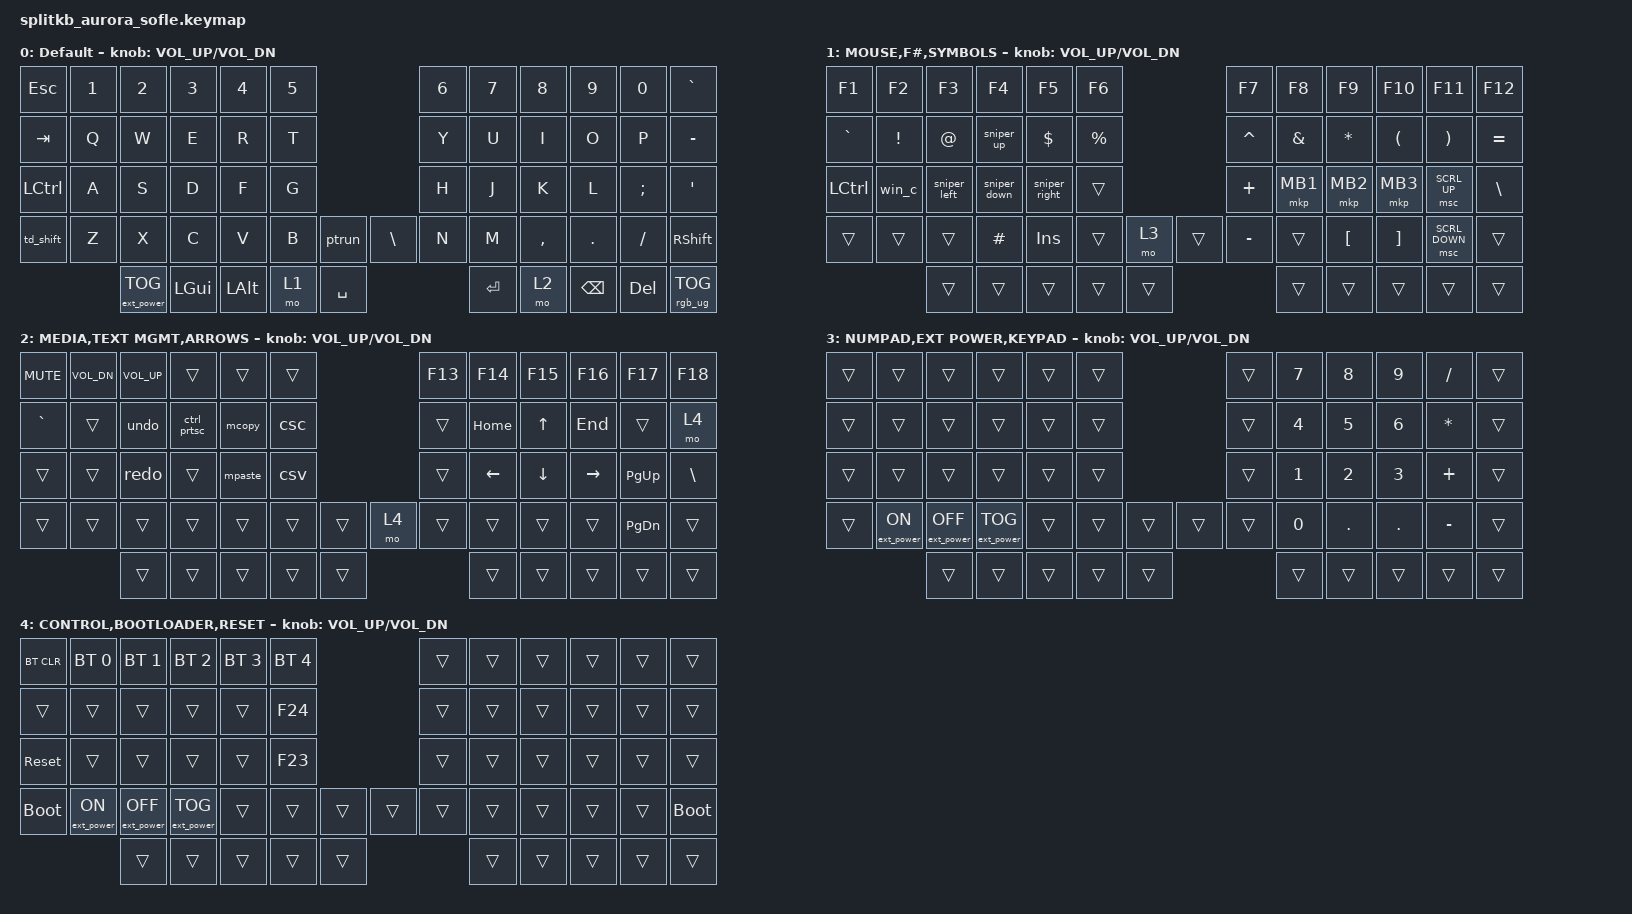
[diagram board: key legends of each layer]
/*
 * Copyright (c) 2020 The ZMK Contributors
 *
 * SPDX-License-Identifier: MIT
 */

#include <behaviors.dtsi>
#include <dt-bindings/zmk/keys.h>
#include <dt-bindings/zmk/bt.h>
#include <dt-bindings/zmk/ext_power.h>
#include <dt-bindings/zmk/rgb.h>
#include <dt-bindings/zmk/pointing.h>

/ {

    macros {
        win_c: win_c {
            label = "WIN_C";
            compatible = "zmk,behavior-macro";
            #binding-cells = <0>;
            bindings
                = <&macro_press &kp LGUI>
                , <&macro_tap &kp C>
                , <&macro_release &kp LGUI>
                ;
        };

        ctrl_prtsc: ctrl_prtsc {
            label = "CTRL_PRSC";
            compatible = "zmk,behavior-macro";
            #binding-cells = <0>;
            bindings
                = <&macro_press &kp LCTRL>
                , <&macro_tap &kp PRINTSCREEN>
                , <&macro_release &kp LCTRL>
                ;
        };

        csc: csc {
            label = "CSC";
            compatible = "zmk,behavior-macro";
            #binding-cells = <0>;
            bindings
                = <&macro_press &kp LCTRL &kp LSHIFT>
                , <&macro_tap &kp C>
                , <&macro_release &kp LSHIFT &kp LCTRL>
                ;
        };

        csv: csv {
            label = "CSV";
            compatible = "zmk,behavior-macro";
            #binding-cells = <0>;
            bindings
                = <&macro_press &kp LCTRL &kp LSHIFT>
                , <&macro_tap &kp V>
                , <&macro_release &kp LSHIFT &kp LCTRL>
                ;
        };
        
        mcopy: mcopy {
            label = "mcopy";
            compatible = "zmk,behavior-macro";
            #binding-cells = <0>;
            bindings
                = <&macro_press &kp LCTRL>
                , <&macro_tap &kp C>
                , <&macro_release &kp LCTRL>
                ;
        };

        mpaste: mpaste {
            label = "mpaste";
            compatible = "zmk,behavior-macro";
            #binding-cells = <0>;
            bindings
                = <&macro_press &kp LCTRL>
                , <&macro_tap &kp V>
                , <&macro_release &kp LCTRL>
                ;
        };

        undo: undo {
            label = "undo";
            compatible = "zmk,behavior-macro";
            #binding-cells = <0>;
            bindings
                = <&macro_press &kp LCTRL>
                , <&macro_tap &kp Z>
                , <&macro_release &kp LCTRL>
                ;
        };

        redo: redo {
            label = "redo";
            compatible = "zmk,behavior-macro";
            #binding-cells = <0>;
            bindings
                = <&macro_press &kp LCTRL>
                , <&macro_tap &kp Y>
                , <&macro_release &kp LCTRL>
                ;
        };

        ptrun: ptrun {
            label = "ptrun";
            compatible = "zmk,behavior-macro";
            #binding-cells = <0>;
            bindings
                = <&macro_press &kp LWIN>
                , <&macro_press &kp LALT>
                , <&macro_tap &kp SPACE>
                , <&macro_release &kp LWIN>
                , <&macro_release &kp LALT>
                ;
        };
    };


    behaviors {
        compatible = "zmk,behaviors";

      td_shift: tap_dance_shift {
        compatible = "zmk,behavior-tap-dance";
        #binding-cells = <0>;
        tapping-term-ms = <200>;
        bindings = <&kp LSHIFT>, <&kp CLCK>;
    };
    /* Hold LCTRL for the slower variant */
    sniper_up: sniper_up {
      compatible = "zmk,behavior-mod-morph";
      #binding-cells = <0>;
      mods = <MOD_LCTL>;
      bindings = <&mmv MOVE_UP>, <&mmv MOVE_Y(-900)>;
    };

    sniper_down: sniper_down {
      compatible = "zmk,behavior-mod-morph";
      #binding-cells = <0>;
      mods = <MOD_LCTL>;
      bindings = <&mmv MOVE_DOWN>, <&mmv MOVE_Y(900)>;
    };

    sniper_left: sniper_left {
      compatible = "zmk,behavior-mod-morph";
      #binding-cells = <0>;
      mods = <MOD_LCTL>;
      bindings = <&mmv MOVE_LEFT>, <&mmv MOVE_X(-900)>;
    };

    sniper_right: sniper_right {
      compatible = "zmk,behavior-mod-morph";
      #binding-cells = <0>;
      mods = <MOD_LCTL>;
      bindings = <&mmv MOVE_RIGHT>, <&mmv MOVE_X(900)>;
    };
  };

    keymap {
        compatible = "zmk,keymap";

        default_layer {
            display-name="Default";
// ------------------------------------------------------------------------------------------------------------
// |  ESC  |  1  |  2  |  3   |  4   |  5   |                   |  6   |  7    |  8    |  9   |   0   |   `   |
// |  TAB  |  Q  |  W  |  E   |  R   |  T   |                   |  Y   |  U    |  I    |  O   |   P   |   -   |
// |  CTRL |  A  |  S  |  D   |  F   |  G   |                   |  H   |  J    |  K    |  L   |   ;   |   '   |
// | SHIFT |  Z  |  X  |  C   |  V   |  B   |  ptrun   |   \|   |  N   |  M    |  ,    |  .   |   /   | SHIFT |
//               | &   | GUI  | LALT | LOWER|  SPACE   |  ENTER | RAISE| BSPC  | DEL   |   &  |
            bindings = <
&kp ESC   &kp N1 &kp N2 &kp N3   &kp N4   &kp N5                     &kp N6 &kp N7   &kp N8    &kp N9  &kp N0   &kp GRAVE
&kp TAB   &kp Q  &kp W  &kp E    &kp R    &kp T                      &kp Y  &kp U    &kp I     &kp O   &kp P    &kp MINUS
&kp LCTRL &kp A  &kp S  &kp D    &kp F    &kp G                      &kp H  &kp J    &kp K     &kp L   &kp SEMI &kp SQT
&td_shift &kp Z  &kp X  &kp C    &kp V    &kp B  &ptrun     &kp BSLH &kp N  &kp M    &kp COMMA &kp DOT &kp FSLH &kp RSHFT
                    &ext_power EP_TOG &kp LGUI &kp LALT &mo 1  &kp SPACE  &kp RET  &mo 2  &kp BSPC &kp DEL &rgb_ug RGB_TOG     
            >;

            sensor-bindings = <&inc_dec_kp C_VOL_UP C_VOL_DN>;
        };

        lower_layer {
            display-name = "MOUSE,F#,SYMBOLS";
// ------------------------------------------------------------------------------------------------------------
// |  F1   |  F2 |  F3 |  F4  |  F5  |  F6  |                   |  F7  |  F8   |  F9   |  F10 |  F11  |  F12  |
// |   `   |  !  |  @  |   ^  |  $   |  %   |                   |  ^   |  &    |  *    |  (   |   )   |   =   |
// |       |win+c|  <- |   v  |  ->  |      |                   |  +   |  mb1  |  mb2  |  mb3 | scrlu |  \|   |
// | SHIFT |     |     |  #   |  INS |      |  mo 3  |  |       |  _   |       |  "[{" | "]}" | scrld | SHIFT |
//               | &   | GUI  | LALT | LOWER|  SPACE   |  ENTER | RAISE| BSPC  | DEL   |   &  |
            bindings = <
&kp F1     &kp F2    &kp F3              &kp F4              &kp F5               &kp F6                         &kp F7    &kp F8    &kp F9    &kp F10   &kp F11        &kp F12
&kp GRAVE  &kp EXCL  &kp AT              &sniper_up          &kp DOLLAR           &kp PRCNT                      &kp CARET &kp AMPS  &kp ASTRK &kp LPAR  &kp RPAR       &kp EQUAL
&kp LCTRL  &win_c    &sniper_left        &sniper_down        &sniper_right        &trans                         &kp PLUS  &mkp MB1  &mkp MB2  &mkp MB3  &msc SCRL_UP   &kp BSLH
&trans     &trans    &trans              &kp HASH            &kp INS              &trans     &mo 3     &trans    &kp MINUS &trans    &kp LBKT  &kp RBKT  &msc SCRL_DOWN &trans
                                         &trans  &trans              &trans               &trans     &trans    &trans    &trans    &trans    &trans &trans 
            >;

            sensor-bindings = <&inc_dec_kp C_VOL_UP C_VOL_DN>;
        };

        raise_layer {
            display-name = "MEDIA,TEXT MGMT,ARROWS";
// ------------------------------------------------------------------------------------------------------------
// |  mute | vup |vdwn |      |      |      |                   |      |       |       |      |       |       |
// |   `   |     |UNDO | c-ps | COPY | C+S+C|                   |      |  HOME |   ^   |  END |       |       |
// |       |     |REDO |      | PASTE| C+S+V|                   |      |   <-  |   v   |  ->  | pg_up |  \|   |
// | SHIFT |     |     |      |      |      |        |  |  mo 4 |      |       |   =   |      | pg_dn | SHIFT |
//               | &   | GUI  | LALT | LOWER|  SPACE   |  ENTER | RAISE| BSPC  | DEL   |   &  |
            bindings = <
&kp C_MUTE &kp C_VOL_DN  &kp C_VOL_UP &trans       &trans      &trans                        &kp F13     &kp F14   &kp F15   &kp F16    &kp F17    &kp F18
&kp GRAVE  &trans        &undo        &ctrl_prtsc  &mcopy      &csc                          &trans      &kp HOME  &kp UP    &kp END    &trans     &mo 4
&trans     &trans        &redo        &trans       &mpaste     &csv                          &trans      &kp LEFT  &kp DOWN  &kp RIGHT  &kp PG_UP  &kp BSLH
&trans     &trans        &trans       &trans       &trans      &trans    &trans   &mo 4      &trans      &trans    &trans    &trans     &kp PG_DN  &trans
                                         &trans  &trans              &trans               &trans     &trans    &trans    &trans    &trans    &trans &trans 
            >;

            sensor-bindings = <&inc_dec_kp C_VOL_UP C_VOL_DN>;
        };

        numpad_layer {
            display-name = "NUMPAD,EXT POWER,KEYPAD";
// ------------------------------------------------------------------------------------------------------------
// |       |     |     |      |      |      |                   |      |   7   |   8   |  9   |   /   |       |
// |       |     |     |      |      |      |                   |      |   4   |   5   |  6   |   *   |       |
// |       |     |     |      |      |      |                   |      |   1   |   2   |  3   |   +   |       |
// |       |p-on |p-off| p-tog|      |      |        |  |       |      |   0   |   .   |  .   |   -   |       |
//               | &   | GUI  | LALT | LOWER|  SPACE   |  ENTER | RAISE| BSPC  | DEL   |   &  |
            bindings = <
&trans     &trans           &trans            &trans            &trans       &trans                       &trans    &kp N7    &kp N8     &kp N9    &kp FSLH     &trans
&trans     &trans           &trans            &trans            &trans       &trans                       &trans    &kp N4    &kp N5     &kp N6    &kp ASTRK    &trans
&trans     &trans           &trans            &trans            &trans       &trans                       &trans    &kp N1    &kp N2     &kp N3    &kp PLUS     &trans
&trans     &ext_power EP_ON &ext_power EP_OFF &ext_power EP_TOG &trans       &trans   &trans    &trans    &trans    &kp N0    &kp DOT    &kp DOT   &kp MINUS    &trans
                                         &trans  &trans              &trans               &trans     &trans    &trans    &trans    &trans    &trans &trans 
            >;

            sensor-bindings = <&inc_dec_kp C_VOL_UP C_VOL_DN>;
        };

        control_layer {
            display-name = "CONTROL,BOOTLOADER,RESET";
// ------------------------------------------------------------------------------------------------------------
// | BTCLR | BT1 | BT2 |  BT3 |  BT4 |  BT5   |                   |      |       |       |      |       |       |
// |       |     |     |      |      |dongleup|                   |      |       |       |      |       |       |
// |sys-res|     |     |      |      |dongled |                   |      |       |       |      |       |       |
// | Bload |p-on |p-off| p-tog|      |        |        |  |       |      |       |       |      |       | Bload |
//               | &   | GUI  | LALT | LOWER|  SPACE   |  ENTER | RAISE| BSPC  | DEL   |   &  |
            bindings = <
&bt BT_CLR  &bt BT_SEL 0     &bt BT_SEL 1      &bt BT_SEL 2      &bt BT_SEL 3 &bt BT_SEL 4               &trans    &trans   &trans    &trans    &trans    &trans
&trans      &trans           &trans            &trans            &trans       &kp F24                    &trans    &trans   &trans    &trans    &trans    &trans
&sys_reset  &trans           &trans            &trans            &trans       &kp F23                    &trans    &trans   &trans    &trans    &trans    &trans
&bootloader &ext_power EP_ON &ext_power EP_OFF &ext_power EP_TOG &trans       &trans   &trans   &trans   &trans    &trans   &trans    &trans    &trans    &bootloader
                                         &trans  &trans              &trans               &trans     &trans    &trans    &trans    &trans    &trans &trans 
            >;
 
            sensor-bindings = <&inc_dec_kp C_VOL_UP C_VOL_DN>;
        };
    };
};

// |       |     |     |      |      |      |                   |      |       |       |      |       |       |
// &trans     &trans           &trans            &trans            &trans       &trans    &trans    &trans   &trans    &trans    &trans    &trans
